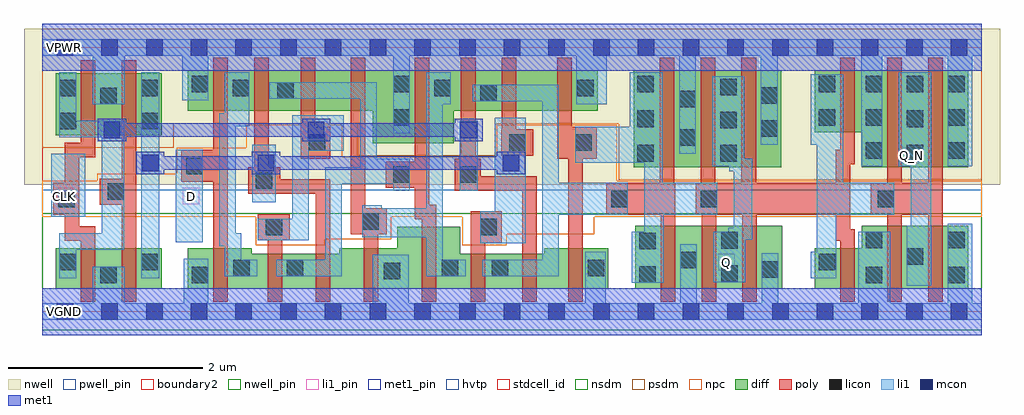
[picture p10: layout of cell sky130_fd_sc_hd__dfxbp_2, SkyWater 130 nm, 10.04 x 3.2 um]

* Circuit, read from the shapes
.subckt sky130_fd_sc_hd__dfxbp_2 CLK D Q Q_N VGND VNB VPB VPWR
XM1 VGND CLK n1 VNB sky130_fd_pr__nfet_01v8 w=0.42 l=0.15
XM2 n2 n1 VGND VNB sky130_fd_pr__nfet_01v8 w=0.42 l=0.15
XM3 n3 D VGND VNB sky130_fd_pr__nfet_01v8 w=0.42 l=0.15
XM4 n4 n1 n3 VNB sky130_fd_pr__nfet_01v8 w=0.36 l=0.15
XM5 n5 n2 n4 VNB sky130_fd_pr__nfet_01v8 w=0.36 l=0.15
XM6 VGND n6 n5 VNB sky130_fd_pr__nfet_01v8 w=0.42 l=0.15
XM7 n6 n4 VGND VNB sky130_fd_pr__nfet_01v8 w=0.64 l=0.15
XM8 n7 n2 n6 VNB sky130_fd_pr__nfet_01v8 w=0.36 l=0.15
XM9 n8 n1 n7 VNB sky130_fd_pr__nfet_01v8 w=0.36 l=0.15
XM10 VGND n9 n8 VNB sky130_fd_pr__nfet_01v8 w=0.42 l=0.15
XM11 VGND n7 n9 VNB sky130_fd_pr__nfet_01v8 w=0.65 l=0.15
XM12 Q n9 VGND VNB sky130_fd_pr__nfet_01v8 w=0.65 l=0.15 m=2
XM13 VGND n9 n10 VNB sky130_fd_pr__nfet_01v8 w=0.42 l=0.15
XM14 Q_N n10 VGND VNB sky130_fd_pr__nfet_01v8 w=0.65 l=0.15 m=2
XM15 VPWR CLK n1 VPB sky130_fd_pr__pfet_01v8_hvt w=0.64 l=0.15
XM16 n2 n1 VPWR VPB sky130_fd_pr__pfet_01v8_hvt w=0.64 l=0.15
XM17 n3 D VPWR VPB sky130_fd_pr__pfet_01v8_hvt w=0.42 l=0.15
XM18 n4 n2 n3 VPB sky130_fd_pr__pfet_01v8_hvt w=0.42 l=0.15
XM19 n11 n1 n4 VPB sky130_fd_pr__pfet_01v8_hvt w=0.42 l=0.15
XM20 VPWR n6 n11 VPB sky130_fd_pr__pfet_01v8_hvt w=0.42 l=0.15
XM21 n6 n4 VPWR VPB sky130_fd_pr__pfet_01v8_hvt w=0.75 l=0.15
XM22 n7 n1 n6 VPB sky130_fd_pr__pfet_01v8_hvt w=0.42 l=0.15
XM23 n12 n2 n7 VPB sky130_fd_pr__pfet_01v8_hvt w=0.42 l=0.15
XM24 VPWR n9 n12 VPB sky130_fd_pr__pfet_01v8_hvt w=0.42 l=0.15
XM25 VPWR n7 n9 VPB sky130_fd_pr__pfet_01v8_hvt w=1 l=0.15
XM26 Q n9 VPWR VPB sky130_fd_pr__pfet_01v8_hvt w=1 l=0.15 m=2
XM27 VPWR n9 n10 VPB sky130_fd_pr__pfet_01v8_hvt w=0.64 l=0.15
XM28 Q_N n10 VPWR VPB sky130_fd_pr__pfet_01v8_hvt w=1 l=0.15 m=2
.ends

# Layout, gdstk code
import gdstk
lib = gdstk.Library(unit=1e-6, precision=1e-09)
def R(c, l, rs):  # rectangles x0, y0, x1, y1
    for r in rs: c.add(gdstk.rectangle(r[:2], r[2:], *l))
def A(c, l, x, y, w, h, nx, ny, dx, dy):  # array of equal rectangles
    R(c, l, [(x+i*dx, y+j*dy, x+i*dx+w, y+j*dy+h) for i in range(nx) for j in range(ny)])
def P(c, l, *ps):  # polygons
    for p in ps: c.add(gdstk.Polygon(p, *l))
nwell_pin = (64, 16)
nwell = (64, 20)
diff = (65, 20)
poly = (66, 20)
licon = (66, 44)
li1_pin = (67, 16)
li1 = (67, 20)
mcon = (67, 44)
met1_pin = (68, 16)
met1 = (68, 20)
hvtp = (78, 44)
stdcell_id = (81, 4)
nsdm = (93, 44)
psdm = (94, 20)
npc = (95, 20)
pwell_pin = (122, 16)
boundary2 = (236, 0)

sky130_fd_sc_hd__dfxbp_2 = lib.new_cell('sky130_fd_sc_hd__dfxbp_2')
R(sky130_fd_sc_hd__dfxbp_2, nwell_pin, [(0.145,2.635,0.315,2.805), (0.145,2.635,0.315,2.805)])
R(sky130_fd_sc_hd__dfxbp_2, nwell, [(-0.19,1.305,9.85,2.91)])
R(sky130_fd_sc_hd__dfxbp_2, diff, [(0.135,0.235,1.225,0.655), (6.1,0.235,7.61,0.885), (6.08,1.485,7.6,2.485), (0.135,1.815,1.225,2.455)])
P(sky130_fd_sc_hd__dfxbp_2, diff, [(8.43,1.485),(8.43,1.845),(7.945,1.845),(7.945,2.485),(9.525,2.485),(9.525,1.485)],
  [(1.495,0.235),(1.495,0.655),(2.155,0.655),(2.155,0.595),(3.055,0.595),(3.055,0.655),(3.65,0.655),(3.65,0.875),(4.3,0.875),(4.3,0.595),(5.16,0.595),(5.16,0.655),(5.82,0.655),(5.82,0.235)],
  [(7.945,0.235),(7.945,0.655),(8.43,0.655),(8.43,0.885),(9.525,0.885),(9.525,0.235)],
  [(3.395,1.735),(3.395,2.065),(1.495,2.065),(1.495,2.485),(5.71,2.485),(5.71,2.065),(4.23,2.065),(4.23,1.735)])
P(sky130_fd_sc_hd__dfxbp_2, poly, [(6.78,0.105),(6.78,0.995),(6.72,0.995),(6.72,1.325),(6.77,1.325),(6.77,2.615),(6.92,2.615),(6.92,1.325),(7.19,1.325),(7.19,2.615),(7.34,2.615),(7.34,1.325),(8.16,1.325),(8.16,1.665),(8.205,1.665),(8.205,2.615),(8.355,2.615),(8.355,1.515),(8.31,1.515),(8.31,0.85),(8.355,0.85),(8.355,0.105),(8.205,0.105),(8.205,0.73),(8.16,0.73),(8.16,0.995),(7.35,0.995),(7.35,0.105),(7.2,0.105),(7.2,0.995),(6.93,0.995),(6.93,0.105)],
  [(0.815,0.105),(0.815,1.1),(0.59,1.1),(0.59,1.37),(0.815,1.37),(0.815,2.585),(0.965,2.585),(0.965,0.105)],
  [(1.755,0.105),(1.755,1.335),(1.43,1.335),(1.43,1.665),(1.755,1.665),(1.755,2.615),(1.905,2.615),(1.905,0.105)],
  [(2.655,1.575),(2.655,2.615),(2.805,2.615),(2.805,1.905),(2.96,1.905),(2.96,1.575)],
  [(3.9,0.105),(3.9,0.95),(3.83,0.95),(3.83,1.275),(3.53,1.275),(3.53,1.545),(3.83,1.545),(3.83,2.615),(3.98,2.615),(3.98,1.1),(4.05,1.1),(4.05,0.105)],
  [(5.41,0.105),(5.41,1.575),(5.295,1.575),(5.295,2.615),(5.445,2.615),(5.445,1.905),(5.7,1.905),(5.7,1.575),(5.56,1.575),(5.56,0.105)],
  [(2.81,0.105),(2.81,1.215),(2.115,1.215),(2.115,1.485),(2.18,1.485),(2.18,2.615),(2.33,2.615),(2.33,1.485),(2.445,1.485),(2.445,1.365),(2.96,1.365),(2.96,0.105)],
  [(4.72,1.605),(4.72,1.875),(4.725,1.875),(4.725,2.615),(4.875,2.615),(4.875,1.875),(5.05,1.875),(5.05,1.605)],
  [(3.305,0.105),(3.305,0.795),(3.17,0.795),(3.17,2.615),(3.32,2.615),(3.32,1.065),(3.54,1.065),(3.54,0.795),(3.455,0.795),(3.455,0.105)],
  [(2.315,0.105),(2.315,0.735),(2.215,0.735),(2.215,1.005),(2.545,1.005),(2.545,0.735),(2.465,0.735),(2.465,0.105)],
  [(6.36,0.105),(6.36,0.995),(5.8,0.995),(5.8,1.325),(6.35,1.325),(6.35,2.615),(6.5,2.615),(6.5,1.325),(6.51,1.325),(6.51,0.105)],
  [(8.69,0.105),(8.69,0.995),(8.52,0.995),(8.52,1.325),(8.69,1.325),(8.69,2.615),(8.84,2.615),(8.84,1.325),(9.11,1.325),(9.11,2.615),(9.26,2.615),(9.26,0.105),(9.11,0.105),(9.11,0.995),(8.84,0.995),(8.84,0.105)],
  [(0.395,0.105),(0.395,0.73),(0.23,0.73),(0.23,0.995),(0.11,0.995),(0.11,1.325),(0.23,1.325),(0.23,1.74),(0.395,1.74),(0.395,2.585),(0.545,2.585),(0.545,1.59),(0.38,1.59),(0.38,0.88),(0.545,0.88),(0.545,0.105)],
  [(4.405,0.105),(4.405,1.035),(4.725,1.035),(4.725,0.705),(4.555,0.705),(4.555,0.105)],
  [(4.935,0.105),(4.935,1.245),(4.24,1.245),(4.24,1.575),(4.305,1.575),(4.305,2.615),(4.455,2.615),(4.455,1.575),(4.51,1.575),(4.51,1.395),(5.085,1.395),(5.085,0.105)])
A(sky130_fd_sc_hd__dfxbp_2, licon, 6.12, 1.545, 0.17, 0.17, 1, 3, 0, 0.355)
A(sky130_fd_sc_hd__dfxbp_2, licon, 6.97, 1.545, 0.17, 0.17, 1, 3, 0, 0.34)
A(sky130_fd_sc_hd__dfxbp_2, licon, 8.89, 1.545, 0.17, 0.17, 1, 3, 0, 0.355)
A(sky130_fd_sc_hd__dfxbp_2, licon, 8.47, 1.575, 0.17, 0.17, 1, 3, 0, 0.34)
A(sky130_fd_sc_hd__dfxbp_2, licon, 9.315, 1.575, 0.17, 0.17, 1, 3, 0, 0.34)
R(sky130_fd_sc_hd__dfxbp_2, licon, [(0.595,0.295,0.765,0.465), (1.535,0.295,1.705,0.465), (8.47,0.295,8.64,0.465), (9.315,0.295,9.485,0.465), (6.14,0.3,6.31,0.47), (6.98,0.31,7.15,0.48), (3.51,0.335,3.68,0.505), (7.4,0.35,7.57,0.52), (1.96,0.365,2.13,0.535), (2.515,0.365,2.685,0.535), (4.105,0.365,4.275,0.535), (4.62,0.365,4.79,0.535), (5.61,0.365,5.78,0.535), (0.175,0.425,0.345,0.595), (1.015,0.425,1.185,0.595), (7.985,0.425,8.155,0.595), (6.56,0.445,6.73,0.615), (8.89,0.485,9.06,0.655), (6.14,0.64,6.31,0.81), (6.98,0.65,7.15,0.82), (8.47,0.655,8.64,0.825), (9.315,0.655,9.485,0.825), (2.295,0.785,2.465,0.955), (4.505,0.785,4.675,0.955), (3.29,0.845,3.46,1.015), (0.16,1.075,0.33,1.245), (5.85,1.075,6.02,1.245), (6.77,1.075,6.94,1.245), (8.59,1.075,8.76,1.245), (0.67,1.15,0.84,1.32), (2.195,1.265,2.365,1.435), (3.61,1.325,3.78,1.495), (4.29,1.325,4.46,1.495), (1.48,1.415,1.65,1.585), (2.74,1.655,2.91,1.825), (4.8,1.655,4.97,1.825), (5.48,1.655,5.65,1.825), (6.55,1.705,6.72,1.875), (7.39,1.8,7.56,1.97), (0.175,1.875,0.345,2.045), (1.015,1.875,1.185,2.045), (3.61,1.915,3.78,2.085), (7.985,1.915,8.155,2.085), (6.55,2.105,6.72,2.275), (0.595,2.135,0.765,2.305), (7.39,2.14,7.56,2.31), (4.505,2.165,4.675,2.335), (2.415,2.19,2.585,2.36), (0.175,2.215,0.345,2.385), (1.015,2.215,1.185,2.385), (1.955,2.215,2.125,2.385), (4.03,2.215,4.2,2.385), (5.5,2.215,5.67,2.385), (1.535,2.255,1.705,2.425), (3.61,2.255,3.78,2.425), (7.985,2.255,8.155,2.425)])
R(sky130_fd_sc_hd__dfxbp_2, li1_pin, [(6.95,0.425,7.12,0.595), (0.145,1.105,0.315,1.275), (1.445,1.105,1.615,1.275), (8.845,1.52,9.015,1.69)])
R(sky130_fd_sc_hd__dfxbp_2, li1, [(1.015,0.345,1.2,2.465), (1.37,0.715,1.65,1.665), (0.09,0.975,0.44,1.625), (2.16,1.125,2.4,1.72), (4.29,1.245,4.48,1.965)])
P(sky130_fd_sc_hd__dfxbp_2, li1, [(6.06,0.3),(6.06,0.825),(6.19,0.825),(6.19,1.53),(5.48,1.53),(5.48,1.905),(6.04,1.905),(6.04,2.465),(6.38,2.465),(6.38,1.325),(6.94,1.325),(6.94,0.995),(6.39,0.995),(6.39,0.3)],
  [(4.525,0.365),(4.525,0.535),(5.14,0.535),(5.14,2.165),(4.425,2.165),(4.425,2.335),(5.31,2.335),(5.31,1.325),(6.02,1.325),(6.02,0.995),(5.31,0.995),(5.31,0.365)],
  [(8.89,0.265),(8.89,0.885),(8.93,0.885),(8.93,1.495),(8.81,1.495),(8.81,2.465),(9.145,2.465),(9.145,0.265)],
  [(4.505,0.705),(4.505,1.035),(4.65,1.035),(4.65,1.995),(4.97,1.995),(4.97,0.705)],
  [(8.425,1.495),(8.425,2.635),(7.565,2.635),(7.565,1.72),(7.39,1.72),(7.39,2.635),(6.72,2.635),(6.72,1.625),(6.55,1.625),(6.55,2.635),(5.805,2.635),(5.805,2.135),(5.49,2.135),(5.49,2.635),(3.78,2.635),(3.78,1.835),(3.61,1.835),(3.61,2.635),(1.705,2.635),(1.705,2.175),(1.44,2.175),(1.44,2.635),(0.845,2.635),(0.845,2.135),(0.515,2.135),(0.515,2.635),(0,2.635),(0,2.805),(9.66,2.805),(9.66,2.635),(9.565,2.635),(9.565,1.495),(9.315,1.495),(9.315,2.635),(8.64,2.635),(8.64,1.495)],
  [(3.95,0.365),(3.95,0.765),(3.29,0.765),(3.29,1.095),(3.49,1.095),(3.49,1.065),(3.95,1.065),(3.95,2.465),(4.2,2.465),(4.2,2.135),(4.12,2.135),(4.12,0.535),(4.355,0.535),(4.355,0.365)],
  [(2.405,0.365),(2.405,0.535),(2.91,0.535),(2.91,1.485),(3.27,1.485),(3.27,2.19),(2.335,2.19),(2.335,2.36),(3.44,2.36),(3.44,1.575),(3.78,1.575),(3.78,1.245),(3.61,1.245),(3.61,1.315),(3.08,1.315),(3.08,0.365)],
  [(6.9,0.305),(6.9,0.825),(7.055,0.825),(7.055,0.865),(7.11,0.865),(7.11,1.445),(7.065,1.445),(7.065,1.495),(6.89,1.495),(6.89,2.42),(7.22,2.42),(7.22,1.575),(7.3,1.575),(7.3,0.74),(7.23,0.74),(7.23,0.305)],
  [(2.215,0.735),(2.215,0.955),(2.57,0.955),(2.57,2.02),(3.1,2.02),(3.1,1.655),(2.74,1.655),(2.74,0.735)],
  [(1.875,0.365),(1.875,0.675),(1.82,0.675),(1.82,2.04),(1.875,2.04),(1.875,2.465),(2.125,2.465),(2.125,1.91),(1.99,1.91),(1.99,0.805),(2.045,0.805),(2.045,0.535),(2.21,0.535),(2.21,0.365)],
  [(7.905,0.345),(7.905,0.615),(7.965,0.615),(7.965,1.715),(7.905,1.715),(7.905,2.445),(8.235,2.445),(8.235,1.325),(8.76,1.325),(8.76,0.995),(8.165,0.995),(8.165,0.345)],
  [(0,-0.085),(0,0.085),(0.515,0.085),(0.515,0.465),(0.845,0.465),(0.845,0.085),(1.455,0.085),(1.455,0.545),(1.705,0.545),(1.705,0.085),(3.4,0.085),(3.4,0.585),(3.77,0.585),(3.77,0.085),(5.585,0.085),(5.585,0.615),(5.795,0.615),(5.795,0.085),(6.56,0.085),(6.56,0.695),(6.73,0.695),(6.73,0.085),(7.4,0.085),(7.4,0.6),(7.57,0.6),(7.57,0.085),(8.39,0.085),(8.39,0.825),(8.72,0.825),(8.72,0.085),(9.315,0.085),(9.315,0.905),(9.565,0.905),(9.565,0.085),(9.66,0.085),(9.66,-0.085)],
  [(0.175,0.345),(0.175,0.805),(0.61,0.805),(0.61,1.795),(0.175,1.795),(0.175,2.465),(0.345,2.465),(0.345,1.965),(0.84,1.965),(0.84,0.635),(0.345,0.635),(0.345,0.345)])
A(sky130_fd_sc_hd__dfxbp_2, mcon, 0.145, -0.085, 0.17, 0.17, 21, 2, 0.46, 2.72)
R(sky130_fd_sc_hd__dfxbp_2, mcon, [(1.025,1.445,1.195,1.615), (2.215,1.445,2.385,1.615), (4.735,1.445,4.905,1.615), (0.63,1.785,0.8,1.955), (2.73,1.785,2.9,1.955), (4.3,1.785,4.47,1.955)])
R(sky130_fd_sc_hd__dfxbp_2, met1_pin, [(0.145,-0.085,0.315,0.085), (0.145,2.635,0.315,2.805)])
R(sky130_fd_sc_hd__dfxbp_2, met1, [(0,-0.24,9.66,0.24), (0,2.48,9.66,2.96)])
P(sky130_fd_sc_hd__dfxbp_2, met1, [(0.965,1.415),(0.965,1.645),(1.255,1.645),(1.255,1.6),(2.155,1.6),(2.155,1.645),(2.445,1.645),(2.445,1.6),(4.675,1.6),(4.675,1.645),(4.965,1.645),(4.965,1.415),(4.675,1.415),(4.675,1.46),(2.445,1.46),(2.445,1.415),(2.155,1.415),(2.155,1.46),(1.255,1.46),(1.255,1.415)],
  [(0.57,1.755),(0.57,1.985),(0.86,1.985),(0.86,1.94),(2.67,1.94),(2.67,1.985),(2.96,1.985),(2.96,1.94),(4.24,1.94),(4.24,1.985),(4.53,1.985),(4.53,1.755),(4.24,1.755),(4.24,1.8),(2.96,1.8),(2.96,1.755),(2.67,1.755),(2.67,1.8),(0.86,1.8),(0.86,1.755)])
R(sky130_fd_sc_hd__dfxbp_2, hvtp, [(0,1.25,9.66,2.72)])
R(sky130_fd_sc_hd__dfxbp_2, stdcell_id, [(0,0,9.66,2.72)])
R(sky130_fd_sc_hd__dfxbp_2, nsdm, [(0,-0.19,9.66,1.015)])
P(sky130_fd_sc_hd__dfxbp_2, psdm, [(5.93,1.355),(5.93,1.935),(4.665,1.935),(4.665,1.605),(3.24,1.605),(3.24,1.935),(1.35,1.935),(1.35,1.685),(0,1.685),(0,2.91),(9.66,2.91),(9.66,1.355)])
P(sky130_fd_sc_hd__dfxbp_2, npc, [(2.195,0.685),(2.195,0.975),(0,0.975),(0,1.345),(0.565,1.345),(0.565,1.42),(1.38,1.42),(1.38,1.685),(2.095,1.685),(2.095,1.925),(3.085,1.925),(3.085,1.595),(4.675,1.595),(4.675,1.925),(5.91,1.925),(5.91,1.345),(9.66,1.345),(9.66,0.975),(5.675,0.975),(5.675,0.795),(4.775,0.795),(4.775,0.685),(4.32,0.685),(4.32,0.975),(3.59,0.975),(3.59,0.745),(2.905,0.745),(2.905,0.685)])
R(sky130_fd_sc_hd__dfxbp_2, pwell_pin, [(0.145,-0.085,0.315,0.085), (0.145,-0.085,0.315,0.085)])
R(sky130_fd_sc_hd__dfxbp_2, boundary2, [(0,0,9.66,2.72)])
sky130_fd_sc_hd__dfxbp_2.add(gdstk.Label('VPWR', (0.23,2.72), layer=68, texttype=5))
sky130_fd_sc_hd__dfxbp_2.add(gdstk.Label('VGND', (0.23,0), layer=68, texttype=5))
sky130_fd_sc_hd__dfxbp_2.add(gdstk.Label('Q', (7.035,0.51), layer=67, texttype=5))
sky130_fd_sc_hd__dfxbp_2.add(gdstk.Label('CLK', (0.23,1.19), layer=67, texttype=5))
sky130_fd_sc_hd__dfxbp_2.add(gdstk.Label('D', (1.535,1.19), layer=67, texttype=5))
sky130_fd_sc_hd__dfxbp_2.add(gdstk.Label('Q_N', (8.94,1.61), layer=67, texttype=5))
sky130_fd_sc_hd__dfxbp_2.add(gdstk.Label('VPB', (0.23,2.72), layer=64, texttype=5))
sky130_fd_sc_hd__dfxbp_2.add(gdstk.Label('VPB', (0.23,2.72), layer=64, texttype=5))
sky130_fd_sc_hd__dfxbp_2.add(gdstk.Label('VNB', (0.23,0), layer=64, texttype=59))
sky130_fd_sc_hd__dfxbp_2.add(gdstk.Label('VNB', (0.23,0), layer=64, texttype=59))
sky130_fd_sc_hd__dfxbp_2.add(gdstk.Label('dfxbp_2', (0,0), layer=83, texttype=44))

lib.write_gds('sky130_fd_sc_hd__dfxbp_2.gds')
